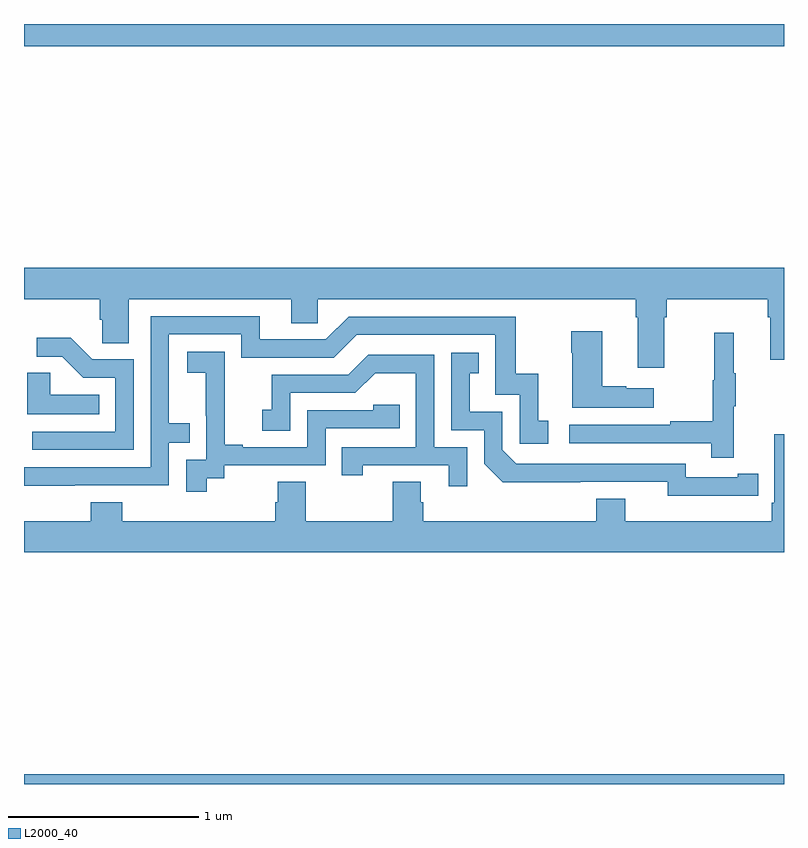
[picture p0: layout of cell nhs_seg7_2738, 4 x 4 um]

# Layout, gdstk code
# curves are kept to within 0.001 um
import gdstk
lib = gdstk.Library(unit=1e-6, precision=1e-09)
def R(c, l, rs):  # rectangles x0, y0, x1, y1
    for r in rs: c.add(gdstk.rectangle(r[:2], r[2:], *l))
def P(c, l, *ps):  # polygons
    for p in ps: c.add(gdstk.Polygon(p, *l))
L2000_40 = (2000, 40)

nhs_seg7_2738 = lib.new_cell('nhs_seg7_2738')
R(nhs_seg7_2738, L2000_40, [(287,1062,291,1062.052), (287,1065.884,291,1066)])
P(nhs_seg7_2738, L2000_40, [(290.371,1064.456),(290.384,1064.456),(290.384,1064.552),(290.915,1064.552),(290.915,1064.456),(290.927,1064.456),(290.927,1064.232),(291,1064.232),(291,1064.716),(287,1064.716),(287,1064.552),(287.399,1064.552),(287.399,1064.443),(287.412,1064.443),(287.412,1064.32),(287.551,1064.32),(287.551,1064.552),(288.407,1064.552),(288.407,1064.425),(288.546,1064.425),(288.546,1064.552),(290.219,1064.552),(290.219,1064.456),(290.231,1064.456),(290.231,1064.19),(290.371,1064.19)],
  [(287.267,1063.572),(287.763,1063.572),(287.763,1063.797),(287.873,1063.797),(287.873,1063.898),(287.763,1063.898),(287.763,1064.367),(288.144,1064.367),(288.144,1064.244),(288.63,1064.244),(288.75,1064.364),(289.479,1064.364),(289.479,1064.049),(289.608,1064.049),(289.608,1063.791),(289.759,1063.791),(289.759,1063.911),(289.706,1063.911),(289.706,1064.158),(289.588,1064.158),(289.588,1064.46),(288.708,1064.46),(288.588,1064.34),(288.241,1064.34),(288.241,1064.463),(287.667,1064.463),(287.667,1063.668),(287,1063.668),(287,1063.571)],
  [(290.314,1064.083),(290.171,1064.083),(290.171,1064.093),(290.044,1064.093),(290.044,1064.383),(289.879,1064.383),(289.879,1064.27),(289.886,1064.27),(289.886,1063.979),(290.314,1063.979)],
  [(290.735,1063.987),(290.746,1063.987),(290.746,1064.161),(290.735,1064.161),(290.735,1064.374),(290.632,1064.374),(290.632,1064.124),(290.625,1064.124),(290.625,1063.91),(290.401,1063.91),(290.401,1063.89),(289.869,1063.89),(289.869,1063.794),(290.617,1063.794),(290.617,1063.716),(290.735,1063.716)],
  [(287.577,1064.235),(287.358,1064.235),(287.245,1064.348),(287.067,1064.348),(287.067,1064.25),(287.201,1064.25),(287.312,1064.139),(287.481,1064.139),(287.481,1063.854),(287.043,1063.854),(287.043,1063.758),(287.577,1063.758)],
  [(287.962,1063.609),(288.054,1063.609),(288.054,1063.677),(288.588,1063.677),(288.588,1063.872),(288.977,1063.872),(288.977,1063.995),(288.837,1063.995),(288.837,1063.968),(288.492,1063.968),(288.492,1063.773),(288.151,1063.773),(288.151,1063.786),(288.056,1063.786),(288.056,1064.069),(288.057,1064.069),(288.057,1064.275),(287.859,1064.275),(287.859,1064.165),(287.957,1064.165),(287.957,1063.937),(287.958,1063.937),(287.958,1063.707),(287.853,1063.707),(287.853,1063.539),(287.962,1063.539)],
  [(290.756,1063.518),(290.864,1063.518),(290.864,1063.634),(290.756,1063.634),(290.756,1063.614),(290.484,1063.614),(290.484,1063.686),(289.59,1063.686),(289.518,1063.758),(289.518,1063.959),(289.345,1063.959),(289.345,1064.163),(289.394,1064.163),(289.394,1064.269),(289.248,1064.269),(289.248,1063.863),(289.422,1063.863),(289.422,1063.686),(289.52,1063.589),(290.388,1063.59),(290.388,1063.517)],
  [(289.332,1063.773),(289.158,1063.773),(289.158,1064.259),(288.812,1064.259),(288.707,1064.154),(288.304,1064.154),(288.304,1063.969),(288.255,1063.969),(288.255,1063.86),(288.402,1063.86),(288.402,1064.058),(288.744,1064.058),(288.848,1064.162),(289.062,1064.162),(289.062,1063.773),(288.673,1063.773),(288.673,1063.626),(288.784,1063.626),(288.784,1063.677),(289.235,1063.677),(289.235,1063.566),(289.332,1063.566)],
  [(287.396,1064.05),(287.139,1064.05),(287.139,1064.165),(287.018,1064.165),(287.018,1063.946),(287.396,1063.946)],
  [(291,1063.84),(290.949,1063.84),(290.949,1063.48),(290.936,1063.48),(290.936,1063.384),(290.164,1063.384),(290.164,1063.501),(290.012,1063.501),(290.012,1063.384),(289.1,1063.384),(289.1,1063.482),(289.087,1063.482),(289.087,1063.592),(288.94,1063.592),(288.94,1063.384),(288.483,1063.384),(288.483,1063.592),(288.335,1063.592),(288.335,1063.482),(288.323,1063.482),(288.323,1063.384),(287.516,1063.384),(287.516,1063.483),(287.351,1063.483),(287.351,1063.384),(287,1063.384),(287,1063.22),(291,1063.22)])

lib.write_gds('nhs_seg7_2738.gds')
